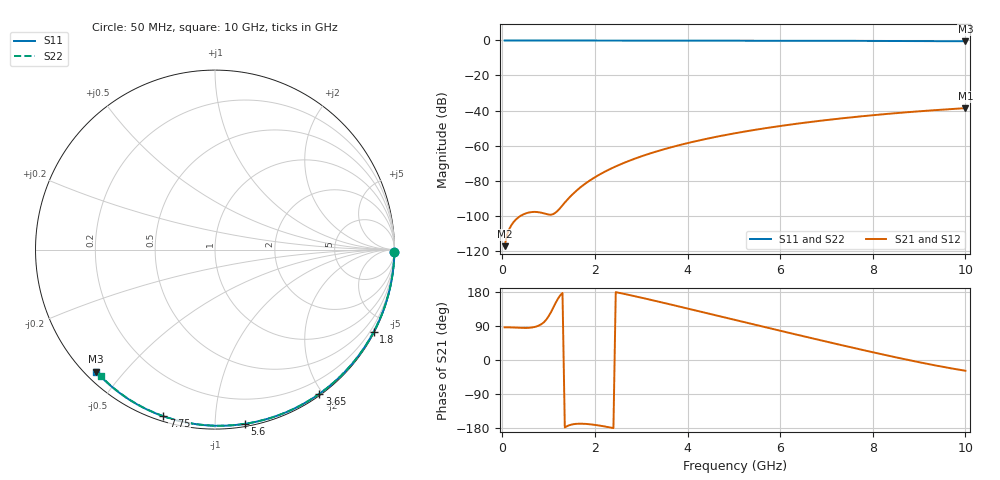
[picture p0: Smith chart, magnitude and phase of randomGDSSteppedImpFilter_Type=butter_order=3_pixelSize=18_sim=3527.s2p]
! freq	dB(S11)	phase(S11)	dB(S12)	phase(S12)
!  dB(S21)	phase(S21)	dB(S22)	phase(S22)
!S-par simulation data
#  GHz  S  DB  R 50
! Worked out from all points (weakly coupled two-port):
!   200 points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, 50 MHz to 10 GHz, reference 50 ohm
!   highest |S21| = -38.65 dB at 10 GHz (marker M1); lowest = -117.4 dB at 50 MHz (marker M2)
!   lowest |S11| = -0.5 dB at 10 GHz (marker M3), VSWR 37.99, Z = 1.55 - j21.1 ohm
!   |S11| at or under -10 dB: nowhere
!   |S22| runs from -0.4 to 0.0 dB; largest |S21 - S12| = 0
!   S11 on the Smith chart (normalised r, x): 50 MHz: open; 1.8 GHz: 0.04, -4.12; 3.65 GHz: 0.02, -1.96; 5.6 GHz: 0.02, -1.18; 7.75 GHz: 0.02, -0.74; 10 GHz: 0.03, -0.42
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0.05  -0.00 -0.8  -117.45 86.1  -117.45 86.1  -0.00 -0.8
0.45  -0.01 -6.9  -99.37 84.6  -99.37 84.6  -0.01 -6.8
0.9  -0.02 -13.8  -98.75 99.7  -98.75 99.7  -0.02 -13.6
1.75  -0.03 -26.5  -82.56 -168.3  -82.56 -168.3  -0.03 -26.3
1.8  -0.03 -27.3  -81.58 -168.6  -81.58 -168.6  -0.03 -27.1
1.9  -0.04 -28.8  -79.77 -169.7  -79.77 -169.7  -0.04 -28.5
2.05  -0.04 -31.0  -77.31 -172.1  -77.31 -172.1  -0.04 -30.7
2.25  -0.04 -33.9  -74.43 -176.2  -74.43 -176.2  -0.04 -33.7
2.45  -0.05 -36.9  -71.90 179.1  -71.90 179.1  -0.05 -36.6
2.65  -0.05 -39.8  -69.64 174.0  -69.64 174.0  -0.05 -39.5
3  -0.06 -44.8  -66.19 164.5  -66.19 164.5  -0.06 -44.5
3.4  -0.07 -50.5  -62.82 153.3  -62.82 153.3  -0.07 -50.1
3.65  -0.07 -54.1  -60.96 146.1  -60.96 146.1  -0.07 -53.6
4.3  -0.09 -63.1  -56.78 127.1  -56.78 127.1  -0.09 -62.5
5.05  -0.11 -73.2  -52.86 105.0  -52.86 105.0  -0.11 -72.5
5.6  -0.13 -80.4  -50.43 88.9  -50.43 88.9  -0.13 -79.7
6.15  -0.15 -87.4  -48.29 72.9  -48.29 72.9  -0.15 -86.6
6.7  -0.18 -94.3  -46.39 57.0  -46.39 57.0  -0.18 -93.4
7.75  -0.25 -107.2  -43.32 27.3  -43.32 27.3  -0.24 -106.1
8.35  -0.29 -114.4  -41.84 11.0  -41.84 11.0  -0.29 -113.1
9.15  -0.36 -123.9  -40.16 -9.5  -40.16 -9.5  -0.36 -122.3
10  -0.46 -134.2  -38.65 -28.3  -38.65 -28.3  -0.45 -131.9
